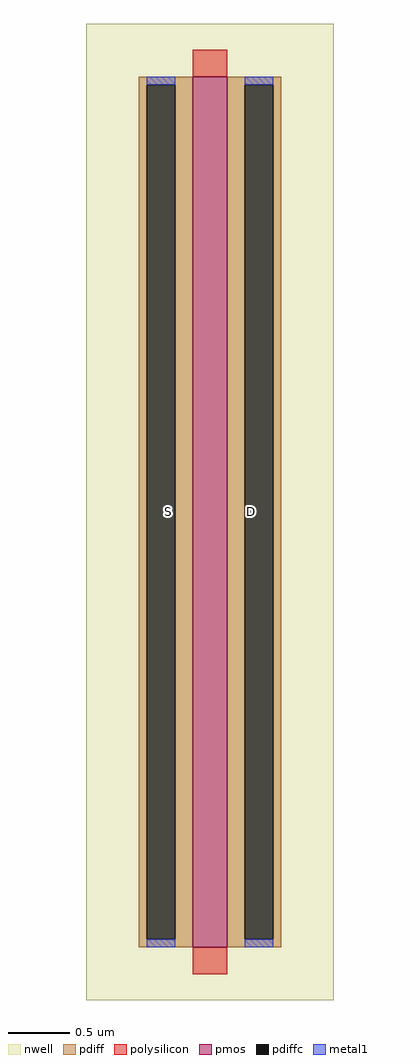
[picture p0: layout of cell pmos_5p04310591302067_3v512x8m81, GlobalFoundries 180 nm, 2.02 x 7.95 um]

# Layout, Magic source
magic
tech gf180mcuD
magscale 1 10
<< nwell >>
rect -174 -86 230 1504
<< pmos >>
rect 0 0 56 1418
<< pdiff >>
rect -88 1405 0 1418
rect -88 13 -75 1405
rect -29 13 0 1405
rect -88 0 0 13
rect 56 1405 144 1418
rect 56 13 85 1405
rect 131 13 144 1405
rect 56 0 144 13
<< pdiffc >>
rect -75 13 -29 1405
rect 85 13 131 1405
<< polysilicon >>
rect 0 1418 56 1462
rect 0 -44 56 0
<< metal1 >>
rect -75 1405 -29 1418
rect -75 0 -29 13
rect 85 1405 131 1418
rect 85 0 131 13
<< labels >>
flabel pdiffc -40 709 -40 709 0 FreeSans 186 0 0 0 S
flabel pdiffc 96 709 96 709 0 FreeSans 186 0 0 0 D
<< end >>
